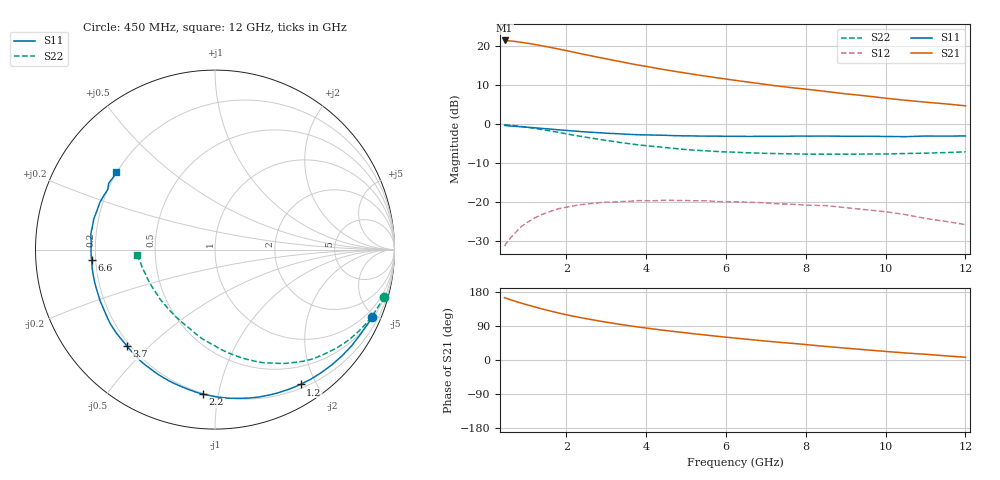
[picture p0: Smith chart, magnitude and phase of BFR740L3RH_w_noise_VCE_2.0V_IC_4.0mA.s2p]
! (c) 2012  Infineon Technologies AG, Munich
! Infineon Technologies  Discrete & RF Semiconductors
! BFR740L3RH
! VCE =  2.0 V,  IC =  4.0 mA
! Common Emitter S-Parameters:  May 2012
# GHz  S  MA  R  50
!  f  S11  S21  S12  S22
! GHz  MAG  ANG  MAG  ANG  MAG  ANG  MAG  ANG
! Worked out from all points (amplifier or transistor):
!   85 points, 450 MHz to 12 GHz, reference 50 ohm
!   highest |S21| = 21.4 dB at 450 MHz (marker M1)
!   |S21| within 3 dB of that: start of sweep to 2.177 GHz
!   unconditionally stable (mu >= 1): 9.482 GHz to end of sweep
!   at 1.8 GHz: K = 0.13, MSG = 20.5 dB, |S12| = -21.8 dB
!   at 4.6 GHz: K = 0.33, MSG = 16.6 dB, |S12| = -19.6 dB
!   at 12 GHz: K = 2.12, MAG = 9.2 dB, |S12| = -25.9 dB
!   lowest NFmin = 0.35 dB at 450 MHz
!   S11 on the Smith chart (normalised r, x): 450 MHz: 0.57, -4.79; 1.2 GHz: 0.25, -1.79; 2.2 GHz: 0.19, -0.90; 3.7 GHz: 0.19, -0.43; 6.6 GHz: 0.18, -0.04; 12 GHz: 0.20, +0.33
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0.45  0.9543 -23.3  11.76 164.4  0.0269 69.6  0.978 -15.5
0.6  0.9375 -30.4  11.58 158.9  0.0344 70.7  0.9596 -20.4
0.8  0.9226 -40.0  11.25 152.2  0.0444 64.5  0.9341 -26.8
1  0.9059 -49.1  10.87 146.0  0.0537 59.7  0.9056 -32.7
1.2  0.8898 -57.6  10.46 140.2  0.0616 54.5  0.8743 -38.5
1.4  0.8724 -66.0  10.02 134.5  0.069 49.7  0.8413 -43.9
1.7  0.8476 -77.5  9.35 126.6  0.0783 42.8  0.7933 -51.6
2  0.8233 -88.3  8.697 119.3  0.0852 36.8  0.7439 -58.5
2.2  0.8085 -94.7  8.276 115.0  0.089 33.2  0.7123 -62.6
2.4  0.7929 -100.8  7.867 110.9  0.0922 29.7  0.6863 -66.7
2.7  0.7754 -109.0  7.322 105.2  0.0956 24.9  0.6468 -72.3
3  0.759 -116.8  6.822 99.8  0.0989 21.0  0.6126 -77.4
3.3  0.7459 -123.9  6.366 94.8  0.0999 17.1  0.5818 -82.3
3.7  0.7278 -132.4  5.806 88.6  0.1023 12.1  0.5452 -88.6
4.3  0.716 -143.2  5.122 80.3  0.1035 6.6  0.5066 -96.8
5.2  0.6988 -157.5  4.313 69.1  0.1028 -1.4  0.4597 -108.5
6.3  0.6921 -171.5  3.577 57.0  0.0997 -9.7  0.4304 -121.8
6.6  0.6896 -175.0  3.408 54.0  0.0982 -11.0  0.424 -125.4
7.2  0.6904 178.6  3.1 48.0  0.0948 -15.3  0.4159 -132.3
8.5  0.6967 165.7  2.605 35.8  0.0893 -23.8  0.4078 -146.3
10.5  0.6845 150.9  2.007 18.5  0.0683 -33.5  0.416 -164.8
12  0.6991 142.0  1.704 7.2  0.0509 -36.0  0.4367 -176.4
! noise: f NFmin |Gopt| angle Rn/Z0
0.45  0.35  0.51  4  0.17
0.9  0.37  0.5  16  0.17
1.5  0.4  0.51  30  0.15
1.9  0.43  0.52  38  0.15
2.4  0.48  0.51  47  0.15
3.5  0.58  0.51  68  0.13
5.5  0.8  0.56  99  0.1
8  1.08  0.5  137  0.08
10  1.29  0.51  162  0.05
12  1.5  0.56  -163  0.04
